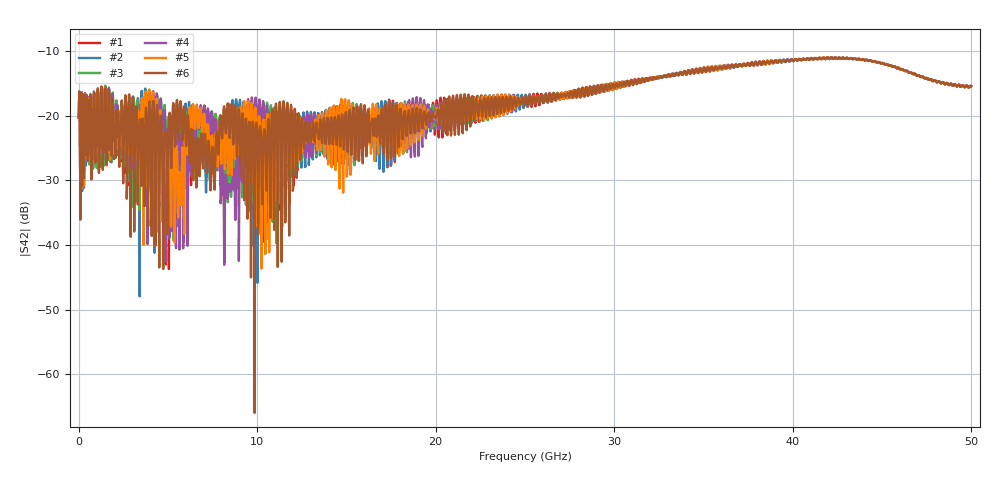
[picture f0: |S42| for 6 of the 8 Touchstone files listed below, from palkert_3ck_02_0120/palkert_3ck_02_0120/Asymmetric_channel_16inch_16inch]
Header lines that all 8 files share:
#	Hz	S	RI	R	50
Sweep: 20 MHz to 50 GHz
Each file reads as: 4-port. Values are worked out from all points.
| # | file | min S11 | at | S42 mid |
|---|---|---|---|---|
| 1 | FEXT_VL5_A4_OD-BP-Channel_16inch_16inch.s4p | -51.3 dB | 11.78 GHz | -17.3 dB at 25.02 GHz |
| 2 | FEXT_VL5_A6_OD-BP-Channel_16inch_16inch.s4p | -51.3 dB | 11.78 GHz | -16.9 dB at 25.02 GHz |
| 3 | FEXT_VL5_A7_OD-BP-Channel_16inch_16inch.s4p | -51.3 dB | 11.78 GHz | -17.4 dB at 25.02 GHz |
| 4 | FEXT_VL5_A8_OD-BP-Channel_16inch_16inch.s4p | -51.3 dB | 11.78 GHz | -17.8 dB at 25.02 GHz |
| 5 | FEXT_VL5_A9_OD-BP-Channel_16inch_16inch.s4p | -51.3 dB | 11.78 GHz | -17.7 dB at 25.02 GHz |
| 6 | NEXT_VL5_A1_OD-BP-Channel_16inch_16inch.s4p | -51.3 dB | 11.78 GHz | -17.6 dB at 25.02 GHz |
| 7 | NEXT_VL5_A3_OD-BP-Channel_16inch_16inch.s4p | -51.3 dB | 11.78 GHz | -16.9 dB at 25.02 GHz |
| 8 | THRU_VL5_OD-BP-Channel_16inch_16inch.s4p | -51.3 dB | 11.78 GHz | -16.9 dB at 25.02 GHz |
